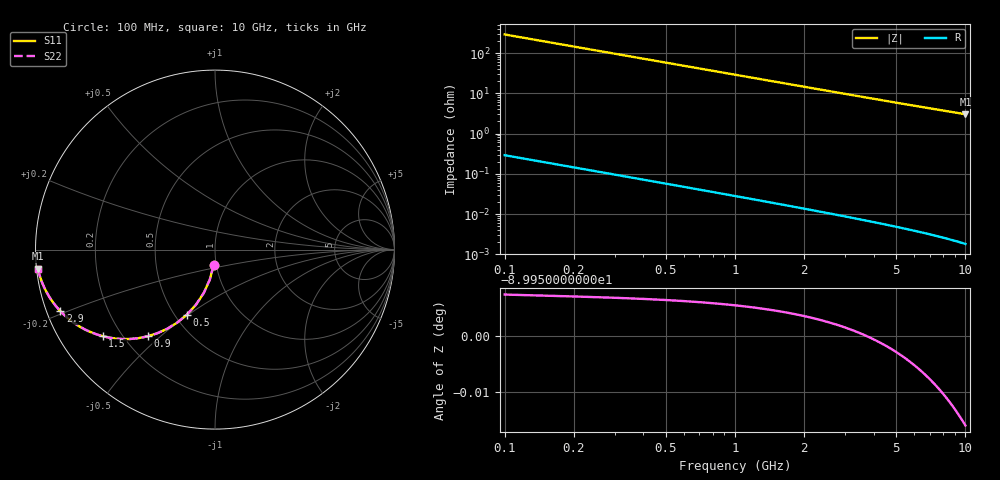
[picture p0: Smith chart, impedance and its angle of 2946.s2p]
# Hz S RI R 50.00
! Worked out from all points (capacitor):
!   100 points, 100 MHz to 10 GHz, reference 50 ohm
!   read as one part in shunt: C = 5.49 pF near 100 MHz
!   lowest |Z| = 3.03 ohm at 10 GHz (marker M1)
!   S11 on the Smith chart (normalised r, x): 100 MHz: 0.97, -0.17; 500 MHz: 0.57, -0.49; 900 MHz: 0.29, -0.45; 1.5 GHz: 0.13, -0.34; 2.9 GHz: 0.04, -0.19; 10 GHz: 0.00, -0.05
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1e8  -0.0074 -0.0855  0.9925 -0.0856  0.9925 -0.0856  -0.0074 -0.0855
2e8  -0.029 -0.1672  0.9709 -0.1674  0.9709 -0.1674  -0.029 -0.1672
3e8  -0.0628 -0.242  0.9371 -0.2424  0.9371 -0.2424  -0.0628 -0.242
4e8  -0.1064 -0.3076  0.8935 -0.3082  0.8935 -0.3082  -0.1064 -0.3076
5e8  -0.1568 -0.3628  0.8431 -0.3635  0.8431 -0.3635  -0.1568 -0.3628
6e8  -0.2111 -0.4072  0.7888 -0.408  0.7888 -0.408  -0.2111 -0.4072
7e8  -0.2669 -0.4414  0.733 -0.4423  0.733 -0.4423  -0.2669 -0.4414
9e8  -0.3757 -0.4832  0.6242 -0.4844  0.6242 -0.4844  -0.3757 -0.4832
1e9  -0.4262 -0.4934  0.5737 -0.4947  0.5737 -0.4947  -0.4262 -0.4934
1.2e9  -0.5167 -0.4984  0.4832 -0.5  0.4832 -0.5  -0.5167 -0.4984
1.5e9  -0.6254 -0.4825  0.3744 -0.4845  0.3744 -0.4845  -0.6254 -0.4825
1.8e9  -0.7062 -0.4538  0.2937 -0.4561  0.2937 -0.4561  -0.7062 -0.4538
2e9  -0.7479 -0.4323  0.2519 -0.435  0.2519 -0.435  -0.7479 -0.4323
2.3e9  -0.7969 -0.4002  0.203 -0.4033  0.203 -0.4033  -0.7969 -0.4002
2.6e9  -0.8337 -0.3701  0.1662 -0.3735  0.1662 -0.3735  -0.8337 -0.3701
2.9e9  -0.8618 -0.3426  0.1381 -0.3464  0.1381 -0.3464  -0.8618 -0.3426
3.4e9  -0.8955 -0.303  0.1043 -0.3075  0.1043 -0.3075  -0.8955 -0.303
4.2e9  -0.929 -0.2534  0.0709 -0.259  0.0709 -0.259  -0.929 -0.2534
5.1e9  -0.9508 -0.2123  0.0491 -0.2191  0.0491 -0.2191  -0.9508 -0.2123
6.7e9  -0.9709 -0.1627  0.0289 -0.1717  0.0289 -0.1717  -0.9709 -0.1627
8.4e9  -0.9814 -0.1286  0.0184 -0.1399  0.0184 -0.1399  -0.9814 -0.1286
1e10  -0.9868 -0.1061  0.0129 -0.1197  0.0129 -0.1197  -0.9868 -0.1061
